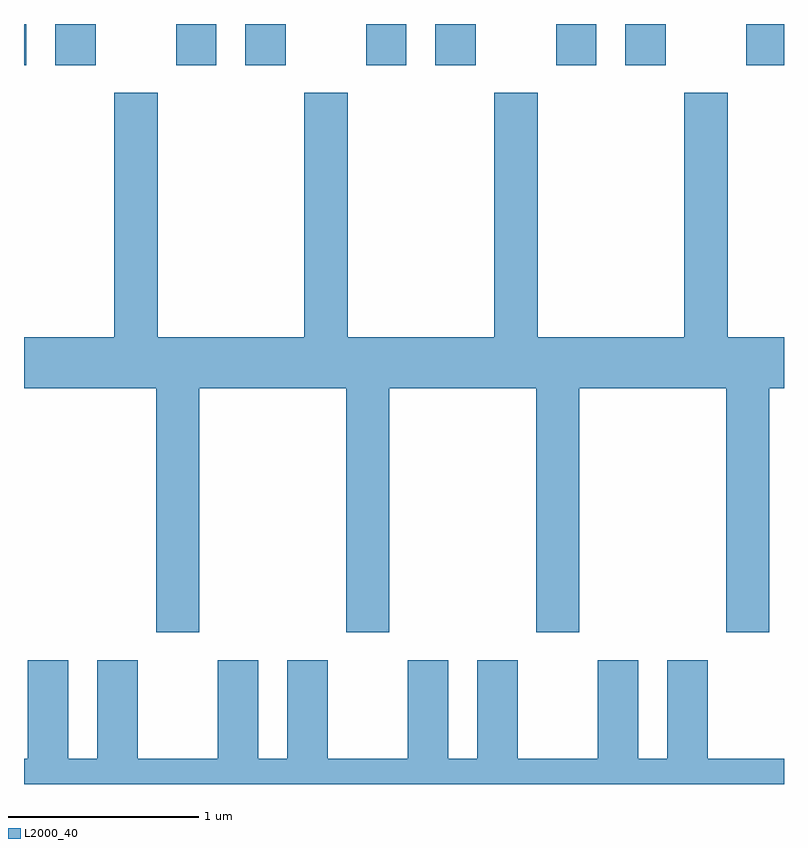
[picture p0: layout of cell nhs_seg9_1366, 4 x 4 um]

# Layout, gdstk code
import gdstk
lib = gdstk.Library(unit=1e-6, precision=1e-09)
def R(c, l, rs):  # rectangles x0, y0, x1, y1
    for r in rs: c.add(gdstk.rectangle(r[:2], r[2:], *l))
def P(c, l, *ps):  # polygons
    for p in ps: c.add(gdstk.Polygon(p, *l))
L2000_40 = (2000, 40)

nhs_seg9_1366 = lib.new_cell('nhs_seg9_1366')
R(nhs_seg9_1366, L2000_40, [(225.611,1960.216,225.624,1960.432), (225.776,1960.216,225.989,1960.432), (226.411,1960.216,226.624,1960.432), (226.776,1960.216,226.989,1960.432), (227.411,1960.216,227.624,1960.432), (227.776,1960.216,227.989,1960.432), (228.411,1960.216,228.624,1960.432), (228.776,1960.216,228.989,1960.432), (229.411,1960.216,229.611,1960.432)])
P(nhs_seg9_1366, L2000_40, [(226.534,1958.516),(227.306,1958.516),(227.306,1957.231),(227.534,1957.231),(227.534,1958.516),(228.306,1958.516),(228.306,1957.231),(228.534,1957.231),(228.534,1958.516),(229.306,1958.516),(229.306,1957.231),(229.534,1957.231),(229.534,1958.516),(229.611,1958.516),(229.611,1958.784),(229.314,1958.784),(229.314,1960.069),(229.086,1960.069),(229.086,1958.784),(228.314,1958.784),(228.314,1960.069),(228.086,1960.069),(228.086,1958.784),(227.314,1958.784),(227.314,1960.069),(227.086,1960.069),(227.086,1958.784),(226.314,1958.784),(226.314,1960.069),(226.086,1960.069),(226.086,1958.784),(225.611,1958.784),(225.611,1958.516),(226.306,1958.516),(226.306,1957.231),(226.534,1957.231)],
  [(229.611,1956.564),(229.209,1956.564),(229.209,1957.084),(228.996,1957.084),(228.996,1956.564),(228.844,1956.564),(228.844,1957.084),(228.631,1957.084),(228.631,1956.564),(228.209,1956.564),(228.209,1957.084),(227.996,1957.084),(227.996,1956.564),(227.844,1956.564),(227.844,1957.084),(227.631,1957.084),(227.631,1956.564),(227.209,1956.564),(227.209,1957.084),(226.996,1957.084),(226.996,1956.564),(226.844,1956.564),(226.844,1957.084),(226.631,1957.084),(226.631,1956.564),(226.209,1956.564),(226.209,1957.084),(225.996,1957.084),(225.996,1956.564),(225.844,1956.564),(225.844,1957.084),(225.631,1957.084),(225.631,1956.564),(225.611,1956.564),(225.611,1956.432),(229.611,1956.432)])

lib.write_gds('nhs_seg9_1366.gds')
